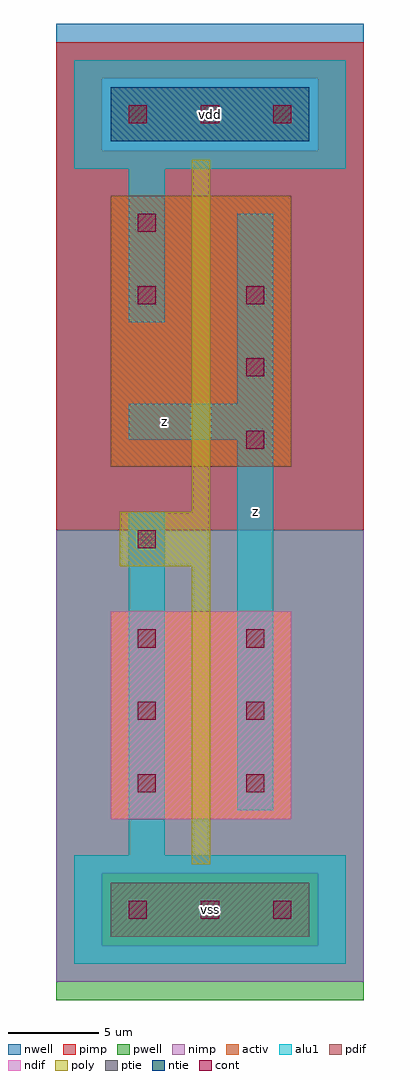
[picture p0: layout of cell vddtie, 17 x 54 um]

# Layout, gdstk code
import gdstk
lib = gdstk.Library(unit=1e-6, precision=1e-09)
def R(c, l, rs):  # rectangles x0, y0, x1, y1
    for r in rs: c.add(gdstk.rectangle(r[:2], r[2:], *l))
def A(c, l, x, y, w, h, nx, ny, dx, dy):  # array of equal rectangles
    R(c, l, [(x+i*dx, y+j*dy, x+i*dx+w, y+j*dy+h) for i in range(nx) for j in range(ny)])
ndif = (3, 0)
pdif = (4, 0)
ntie = (5, 0)
ptie = (6, 0)
cont = (25, 0)
pwell = (41, 0)
nwell = (42, 0)
activ = (43, 0)
pimp = (44, 0)
nimp = (45, 0)
poly = (46, 0)
alu1 = (49, 0)

vddtie = lib.new_cell('vddtie')
R(vddtie, ndif, [(2,8,12,19.5)])
R(vddtie, pdif, [(2,27.5,12,42.5)])
R(vddtie, ntie, [(2,45.5,13,48.5)])
R(vddtie, ptie, [(2,1.5,13,4.5)])
A(vddtie, cont, 3, 2.5, 1, 1, 3, 2, 4, 44)
A(vddtie, cont, 3.5, 9.5, 1, 1, 1, 3, 0, 4)
A(vddtie, cont, 9.5, 9.5, 1, 1, 1, 3, 0, 4)
A(vddtie, cont, 9.5, 28.5, 1, 1, 1, 3, 0, 4)
R(vddtie, cont, [(3.5,23,4.5,24), (3.5,36.5,4.5,37.5), (3.5,40.5,4.5,41.5)])
R(vddtie, pwell, [(-1,-2,16,24)])
R(vddtie, nwell, [(-1,24,16,52)])
R(vddtie, activ, [(2,1.5,13,4.5), (2,8,12,19.5), (2,27.5,12,42.5), (2,45.5,13,48.5)])
R(vddtie, pimp, [(1.5,1,13.5,5), (-1,24,16,45), (-1,45,1.5,49), (13.5,45,16,49), (-1,49,16,51)])
R(vddtie, nimp, [(-1,-1,16,1), (-1,1,1.5,5), (13.5,1,16,5), (-1,5,16,24), (1.5,45,13.5,49)])
R(vddtie, poly, [(6.5,5.5,7.5,22), (2.5,22,7.5,25), (6.5,25,7.5,44.5)])
R(vddtie, alu1, [(0,0,15,6), (3,6,5,25), (9,8.5,11,29), (3,29,11,31), (9,31,11,41.5), (3,35.5,5,44), (0,44,15,50)])
vddtie.add(gdstk.Label('z', (5,30), layer=49, texttype=0))
vddtie.add(gdstk.Label('vss', (7.5,3), layer=49, texttype=0))
vddtie.add(gdstk.Label('z', (10,25), layer=49, texttype=0))
vddtie.add(gdstk.Label('vdd', (7.5,47), layer=49, texttype=0))

lib.write_gds('vddtie.gds')
